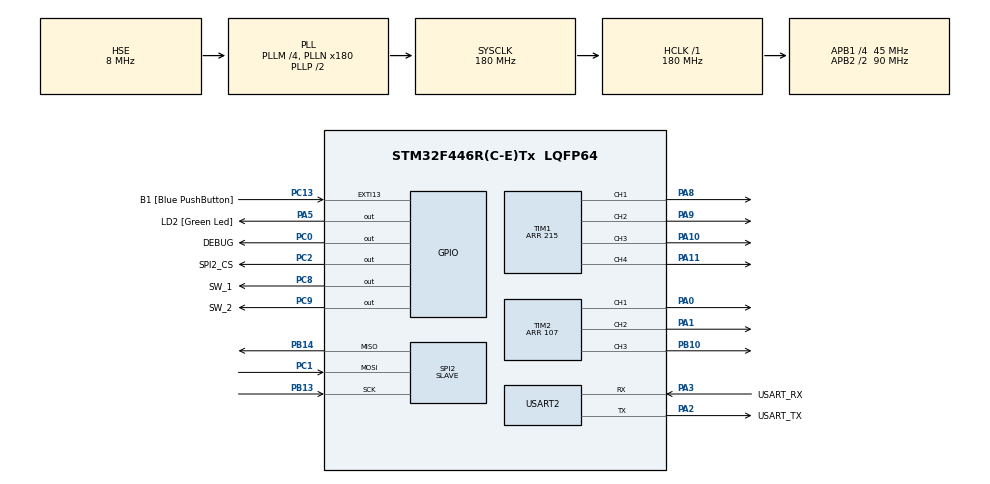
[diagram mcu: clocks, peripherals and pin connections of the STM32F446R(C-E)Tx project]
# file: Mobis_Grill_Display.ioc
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Dma.Request0=SPI2_RX
Dma.Request1=TIM1_CH1
Dma.Request2=TIM1_CH2
Dma.Request3=TIM1_CH3
Dma.Request4=TIM1_CH4/TRIG/COM
Dma.Request5=TIM2_CH1
Dma.Request6=TIM2_CH2/CH4
Dma.Request7=TIM2_UP/CH3
Dma.SPI2_RX.0.Direction=DMA_PERIPH_TO_MEMORY
Dma.SPI2_RX.0.FIFOMode=DMA_FIFOMODE_DISABLE
Dma.SPI2_RX.0.Instance=DMA1_Stream3
Dma.SPI2_RX.0.MemDataAlignment=DMA_MDATAALIGN_HALFWORD
Dma.SPI2_RX.0.MemInc=DMA_MINC_ENABLE
Dma.SPI2_RX.0.Mode=DMA_NORMAL
Dma.SPI2_RX.0.PeriphDataAlignment=DMA_PDATAALIGN_HALFWORD
Dma.SPI2_RX.0.PeriphInc=DMA_PINC_DISABLE
Dma.SPI2_RX.0.Priority=DMA_PRIORITY_LOW
Dma.TIM1_CH1.1.Direction=DMA_MEMORY_TO_PERIPH
Dma.TIM1_CH1.1.FIFOMode=DMA_FIFOMODE_DISABLE
Dma.TIM1_CH1.1.Instance=DMA2_Stream1
Dma.TIM1_CH1.1.MemDataAlignment=DMA_MDATAALIGN_HALFWORD
Dma.TIM1_CH1.1.MemInc=DMA_MINC_ENABLE
Dma.TIM1_CH1.1.Mode=DMA_NORMAL
Dma.TIM1_CH1.1.PeriphDataAlignment=DMA_PDATAALIGN_HALFWORD
Dma.TIM1_CH1.1.PeriphInc=DMA_PINC_DISABLE
Dma.TIM1_CH1.1.Priority=DMA_PRIORITY_LOW
Dma.TIM1_CH2.2.Direction=DMA_MEMORY_TO_PERIPH
Dma.TIM1_CH2.2.FIFOMode=DMA_FIFOMODE_DISABLE
Dma.TIM1_CH2.2.Instance=DMA2_Stream2
Dma.TIM1_CH2.2.MemDataAlignment=DMA_MDATAALIGN_HALFWORD
Dma.TIM1_CH2.2.MemInc=DMA_MINC_ENABLE
Dma.TIM1_CH2.2.Mode=DMA_NORMAL
Dma.TIM1_CH2.2.PeriphDataAlignment=DMA_PDATAALIGN_HALFWORD
Dma.TIM1_CH2.2.PeriphInc=DMA_PINC_DISABLE
Dma.TIM1_CH2.2.Priority=DMA_PRIORITY_LOW
Dma.TIM1_CH3.3.Direction=DMA_MEMORY_TO_PERIPH
Dma.TIM1_CH3.3.FIFOMode=DMA_FIFOMODE_DISABLE
Dma.TIM1_CH3.3.Instance=DMA2_Stream6
Dma.TIM1_CH3.3.MemDataAlignment=DMA_MDATAALIGN_HALFWORD
Dma.TIM1_CH3.3.MemInc=DMA_MINC_ENABLE
Dma.TIM1_CH3.3.Mode=DMA_NORMAL
Dma.TIM1_CH3.3.PeriphDataAlignment=DMA_PDATAALIGN_HALFWORD
Dma.TIM1_CH3.3.PeriphInc=DMA_PINC_DISABLE
Dma.TIM1_CH3.3.Priority=DMA_PRIORITY_LOW
Dma.TIM1_CH4/TRIG/COM.4.Direction=DMA_MEMORY_TO_PERIPH
Dma.TIM1_CH4/TRIG/COM.4.FIFOMode=DMA_FIFOMODE_DISABLE
Dma.TIM1_CH4/TRIG/COM.4.Instance=DMA2_Stream4
Dma.TIM1_CH4/TRIG/COM.4.MemDataAlignment=DMA_MDATAALIGN_HALFWORD
Dma.TIM1_CH4/TRIG/COM.4.MemInc=DMA_MINC_ENABLE
Dma.TIM1_CH4/TRIG/COM.4.Mode=DMA_NORMAL
Dma.TIM1_CH4/TRIG/COM.4.PeriphDataAlignment=DMA_PDATAALIGN_HALFWORD
Dma.TIM1_CH4/TRIG/COM.4.PeriphInc=DMA_PINC_DISABLE
Dma.TIM1_CH4/TRIG/COM.4.Priority=DMA_PRIORITY_LOW
Dma.TIM2_CH1.5.Direction=DMA_MEMORY_TO_PERIPH
Dma.TIM2_CH1.5.FIFOMode=DMA_FIFOMODE_DISABLE
Dma.TIM2_CH1.5.Instance=DMA1_Stream5
Dma.TIM2_CH1.5.MemDataAlignment=DMA_MDATAALIGN_WORD
Dma.TIM2_CH1.5.MemInc=DMA_MINC_ENABLE
Dma.TIM2_CH1.5.Mode=DMA_NORMAL
Dma.TIM2_CH1.5.PeriphDataAlignment=DMA_PDATAALIGN_WORD
Dma.TIM2_CH1.5.PeriphInc=DMA_PINC_DISABLE
Dma.TIM2_CH1.5.Priority=DMA_PRIORITY_LOW
Dma.TIM2_CH2/CH4.6.Direction=DMA_MEMORY_TO_PERIPH
Dma.TIM2_CH2/CH4.6.FIFOMode=DMA_FIFOMODE_DISABLE
Dma.TIM2_CH2/CH4.6.Instance=DMA1_Stream6
Dma.TIM2_CH2/CH4.6.MemDataAlignment=DMA_MDATAALIGN_WORD
Dma.TIM2_CH2/CH4.6.MemInc=DMA_MINC_ENABLE
Dma.TIM2_CH2/CH4.6.Mode=DMA_NORMAL
Dma.TIM2_CH2/CH4.6.PeriphDataAlignment=DMA_PDATAALIGN_WORD
Dma.TIM2_CH2/CH4.6.PeriphInc=DMA_PINC_DISABLE
Dma.TIM2_CH2/CH4.6.Priority=DMA_PRIORITY_LOW
Dma.TIM2_UP/CH3.7.Direction=DMA_MEMORY_TO_PERIPH
Dma.TIM2_UP/CH3.7.FIFOMode=DMA_FIFOMODE_DISABLE
Dma.TIM2_UP/CH3.7.Instance=DMA1_Stream1
Dma.TIM2_UP/CH3.7.MemDataAlignment=DMA_MDATAALIGN_WORD
Dma.TIM2_UP/CH3.7.MemInc=DMA_MINC_ENABLE
Dma.TIM2_UP/CH3.7.Mode=DMA_NORMAL
Dma.TIM2_UP/CH3.7.PeriphDataAlignment=DMA_PDATAALIGN_WORD
Dma.TIM2_UP/CH3.7.PeriphInc=DMA_PINC_DISABLE
Dma.TIM2_UP/CH3.7.Priority=DMA_PRIORITY_LOW
Mcu.Family=STM32F4
Mcu.Name=STM32F446R(C-E)Tx
Mcu.Package=LQFP64
NVIC.DMA1_Stream1_IRQn=true\:0\:0\:false\:false\:true\:false\:true\:true
NVIC.DMA1_Stream3_IRQn=true\:0\:0\:false\:false\:true\:false\:true\:true
NVIC.DMA1_Stream5_IRQn=true\:0\:0\:false\:false\:true\:false\:true\:true
NVIC.DMA1_Stream6_IRQn=true\:0\:0\:false\:false\:true\:false\:true\:true
NVIC.DMA2_Stream1_IRQn=true\:0\:0\:false\:false\:true\:false\:true\:true
NVIC.DMA2_Stream2_IRQn=true\:0\:0\:false\:false\:true\:false\:true\:true
NVIC.DMA2_Stream4_IRQn=true\:0\:0\:false\:false\:true\:false\:true\:true
NVIC.DMA2_Stream6_IRQn=true\:0\:0\:false\:false\:true\:false\:true\:true
NVIC.PriorityGroup=NVIC_PRIORITYGROUP_0
NVIC.TIM8_TRG_COM_TIM14_IRQn=true\:0\:0\:false\:false\:true\:true\:true\:true
PA0-WKUP.GPIO_Speed=GPIO_SPEED_FREQ_VERY_HIGH
PA0-WKUP.Signal=S_TIM2_CH1_ETR
PA1.GPIO_Speed=GPIO_SPEED_FREQ_VERY_HIGH
PA1.Signal=S_TIM2_CH2
PA10.GPIO_Speed=GPIO_SPEED_FREQ_VERY_HIGH
PA10.Signal=S_TIM1_CH3
PA11.GPIO_Speed=GPIO_SPEED_FREQ_VERY_HIGH
PA11.Signal=S_TIM1_CH4
PA13.GPIO_Label=TMS
PA13.Mode=Serial_Wire
PA13.Signal=SYS_JTMS-SWDIO
PA14.GPIO_Label=TCK
PA14.Mode=Serial_Wire
PA14.Signal=SYS_JTCK-SWCLK
PA2.GPIO_Label=USART_TX
PA2.Mode=Asynchronous
PA2.Signal=USART2_TX
PA3.GPIO_Label=USART_RX
PA3.Mode=Asynchronous
PA3.Signal=USART2_RX
PA5.GPIO_Label=LD2 [Green Led]
PA5.Signal=GPIO_Output
PA8.GPIO_Speed=GPIO_SPEED_FREQ_VERY_HIGH
PA8.Signal=S_TIM1_CH1
PA9.GPIO_Speed=GPIO_SPEED_FREQ_VERY_HIGH
PA9.Signal=S_TIM1_CH2
PB10.GPIO_Speed=GPIO_SPEED_FREQ_VERY_HIGH
PB10.Signal=S_TIM2_CH3
PB13.Mode=Full_Duplex_Slave
PB13.Signal=SPI2_SCK
PB14.Mode=Full_Duplex_Slave
PB14.Signal=SPI2_MISO
PB3.GPIO_Label=SWO
PB3.Signal=SYS_JTDO-SWO
PC0.GPIO_Label=DEBUG
PC0.Signal=GPIO_Output
PC1.Mode=Full_Duplex_Slave
PC1.Signal=SPI2_MOSI
PC13.GPIO_Label=B1 [Blue PushButton]
PC13.GPIO_ModeDefaultEXTI=GPIO_MODE_IT_FALLING
PC13.Signal=GPXTI13
PC14-OSC32_IN.Mode=LSE-External-Oscillator
PC14-OSC32_IN.Signal=RCC_OSC32_IN
PC15-OSC32_OUT.Mode=LSE-External-Oscillator
PC15-OSC32_OUT.Signal=RCC_OSC32_OUT
PC2.GPIO_Label=SPI2_CS
PC2.Signal=GPIO_Output
PC8.GPIO_Label=SW_1
PC8.Signal=GPIO_Output
PC9.GPIO_Label=SW_2
PC9.Signal=GPIO_Output
PH0-OSC_IN.Mode=HSE-External-Oscillator
PH0-OSC_IN.Signal=RCC_OSC_IN
PH1-OSC_OUT.Mode=HSE-External-Oscillator
PH1-OSC_OUT.Signal=RCC_OSC_OUT
ProjectManager.HeapSize=0x200
ProjectManager.StackSize=0x400
ProjectManager.TargetToolchain=EWARM V8.50
RCC.48MHZClocksFreq_Value=84000000
RCC.AHBFreq_Value=180000000
RCC.APB1CLKDivider=RCC_HCLK_DIV4
RCC.APB1Freq_Value=45000000
RCC.APB1TimFreq_Value=90000000
RCC.APB2CLKDivider=RCC_HCLK_DIV2
RCC.APB2Freq_Value=90000000
RCC.APB2TimFreq_Value=180000000
RCC.CortexFreq_Value=180000000
RCC.FLatency-AdvancedSettings=FLASH_LATENCY_5
RCC.HCLKFreq_Value=180000000
RCC.HSE_VALUE=8000000
RCC.HSI_VALUE=16000000
RCC.PLLM=4
RCC.PLLN=180
RCC.PLLSourceVirtual=RCC_PLLSOURCE_HSE
RCC.SYSCLKFreq_VALUE=180000000
RCC.SYSCLKSource=RCC_SYSCLKSOURCE_PLLCLK
RCC.USBFreq_Value=180000000
RCC.VCOOutputFreq_Value=360000000
SH.S_TIM1_CH1.0=TIM1_CH1,PWM Generation1 CH1
SH.S_TIM1_CH2.0=TIM1_CH2,PWM Generation2 CH2
SH.S_TIM1_CH3.0=TIM1_CH3,PWM Generation3 CH3
SH.S_TIM1_CH4.0=TIM1_CH4,PWM Generation4 CH4
SH.S_TIM2_CH1_ETR.0=TIM2_CH1,PWM Generation1 CH1
SH.S_TIM2_CH2.0=TIM2_CH2,PWM Generation2 CH2
SH.S_TIM2_CH3.0=TIM2_CH3,PWM Generation3 CH3
SPI2.Direction=SPI_DIRECTION_2LINES
SPI2.Mode=SPI_MODE_SLAVE
SPI2.VirtualType=VM_SLAVE
TIM1.Channel-PWM\ Generation1\ CH1=TIM_CHANNEL_1
TIM1.Channel-PWM\ Generation2\ CH2=TIM_CHANNEL_2
TIM1.Channel-PWM\ Generation3\ CH3=TIM_CHANNEL_3
TIM1.Channel-PWM\ Generation4\ CH4=TIM_CHANNEL_4
TIM1.Period=215
TIM13.Prescaler=89
TIM14.Period=49999
TIM14.Prescaler=29
TIM2.Channel-PWM\ Generation1\ CH1=TIM_CHANNEL_1
TIM2.Channel-PWM\ Generation2\ CH2=TIM_CHANNEL_2
TIM2.Channel-PWM\ Generation3\ CH3=TIM_CHANNEL_3
TIM2.Period=107
USART2.VirtualMode=VM_ASYNC
VP_TIM13_VS_ClockSourceINT.Mode=Enable_Timer
VP_TIM14_VS_ClockSourceINT.Mode=Enable_Timer
VP_TIM1_VS_ClockSourceINT.Mode=Internal
VP_TIM2_VS_ClockSourceINT.Mode=Internal
board=NUCLEO-F446RE

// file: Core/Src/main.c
/* USER CODE BEGIN Header */
/* USER CODE END Header */
#include "main.h"

/* USER CODE BEGIN Includes */
#include <stdint.h>
/* USER CODE END Includes */

/* USER CODE BEGIN PD */
#define TIM1_PERIOD     216
#define TIM1_CCR_BIT_1  ((TIM1_PERIOD * 2 / 3.0f) - 1)
#define TIM1_CCR_BIT_0  ((TIM1_PERIOD * 1 / 3.0f) - 1)

#define TIM2_PERIOD     108
#define TIM2_CCR_BIT_1  ((TIM2_PERIOD * 2 / 3.0f) - 1)
#define TIM2_CCR_BIT_0  ((TIM2_PERIOD * 1 / 3.0f) - 1)

#define DATA_VALID      (3072)
#define DATA_DUMMY      (10)
#define DATA_SIZE       (DATA_VALID + DATA_DUMMY * 2)
/* USER CODE END PD */

TIM_HandleTypeDef htim13;

UART_HandleTypeDef huart2;

void SystemClock_Config(void);
static void MX_GPIO_Init(void);
static void MX_DMA_Init(void);
static void MX_USART2_UART_Init(void);
static void MX_SPI2_Init(void);
static void MX_TIM1_Init(void);
static void MX_TIM2_Init(void);
static void MX_TIM14_Init(void);
static void MX_TIM13_Init(void);

/* USER CODE BEGIN 0 */

volatile uint8_t gn_vsync_flag;
volatile uint8_t gn_tim1_ch1_dma_flag;
volatile uint8_t gn_tim1_ch2_dma_flag;
volatile uint8_t gn_tim1_ch3_dma_flag;
volatile uint8_t gn_tim1_ch4_dma_flag;
volatile uint8_t gn_tim2_ch1_dma_flag;
volatile uint8_t gn_tim2_ch2_dma_flag;
volatile uint8_t gn_tim2_ch3_dma_flag;

//TIM1 : 16bit, half-word
uint16_t data_tim1_ch1[DATA_SIZE] = {0, };
uint16_t data_tim1_ch2[DATA_SIZE] = {0, };
uint16_t data_tim1_ch3[DATA_SIZE] = {0, };
uint16_t data_tim1_ch4[DATA_SIZE] = {0, };

//TIM2 : 32bit, word
uint32_t data_tim2_ch1[DATA_SIZE] = {0, };
uint32_t data_tim2_ch2[DATA_SIZE] = {0, };
uint32_t data_tim2_ch3[DATA_SIZE] = {0, };

static void update_dimming_buffer(uint8_t in)
{
    if (in % 2)
    {
        for (uint16_t i = 0; i < DATA_VALID; i++)
        {
            data_tim1_ch1[i + DATA_DUMMY] = TIM1_CCR_BIT_1;
            data_tim1_ch2[i + DATA_DUMMY] = TIM1_CCR_BIT_1;
            data_tim1_ch3[i + DATA_DUMMY] = TIM1_CCR_BIT_1;
            data_tim1_ch4[i + DATA_DUMMY] = TIM1_CCR_BIT_1;
            data_tim2_ch1[i + DATA_DUMMY] = TIM2_CCR_BIT_1;
            data_tim2_ch2[i + DATA_DUMMY] = TIM2_CCR_BIT_1;
            data_tim2_ch3[i + DATA_DUMMY] = TIM2_CCR_BIT_1;
        }
    }
    else
    {
        for (uint16_t i = 0; i < DATA_VALID; i++)
        {
            data_tim1_ch1[i + DATA_DUMMY] = TIM1_CCR_BIT_0;
            data_tim1_ch2[i + DATA_DUMMY] = TIM1_CCR_BIT_0;
            data_tim1_ch3[i + DATA_DUMMY] = TIM1_CCR_BIT_0;
            data_tim1_ch4[i + DATA_DUMMY] = TIM1_CCR_BIT_0;
            data_tim2_ch1[i + DATA_DUMMY] = TIM2_CCR_BIT_0;
            data_tim2_ch2[i + DATA_DUMMY] = TIM2_CCR_BIT_0;
            data_tim2_ch3[i + DATA_DUMMY] = TIM2_CCR_BIT_0;
        }
    }
}

static void start_dma_tx(void)
{
    LL_TIM_DisableCounter(TIM1);
    LL_TIM_SetCounter(TIM1, 0);
    LL_DMA_SetDataLength(DMA2, LL_DMA_STREAM_1, DATA_SIZE);
    LL_DMA_EnableIT_TC(DMA2, LL_DMA_STREAM_1);
    LL_DMA_EnableStream(DMA2, LL_DMA_STREAM_1);

    LL_DMA_SetDataLength(DMA2, LL_DMA_STREAM_2, DATA_SIZE);
    LL_DMA_EnableIT_TC(DMA2, LL_DMA_STREAM_2);
    LL_DMA_EnableStream(DMA2, LL_DMA_STREAM_2);

    LL_DMA_SetDataLength(DMA2, LL_DMA_STREAM_6, DATA_SIZE);
    LL_DMA_EnableIT_TC(DMA2, LL_DMA_STREAM_6);
    LL_DMA_EnableStream(DMA2, LL_DMA_STREAM_6);

    LL_DMA_SetDataLength(DMA2, LL_DMA_STREAM_4, DATA_SIZE);
    LL_DMA_EnableIT_TC(DMA2, LL_DMA_STREAM_4);
    LL_DMA_EnableStream(DMA2, LL_DMA_STREAM_4);
    LL_TIM_EnableCounter(TIM1);

    LL_TIM_DisableCounter(TIM2);
    LL_TIM_SetCounter(TIM2, 0);
    LL_DMA_SetDataLength(DMA1, LL_DMA_STREAM_5, DATA_SIZE);
    LL_DMA_EnableIT_TC(DMA1, LL_DMA_STREAM_5);
    LL_DMA_EnableStream(DMA1, LL_DMA_STREAM_5);

    LL_DMA_SetDataLength(DMA1, LL_DMA_STREAM_6, DATA_SIZE);
    LL_DMA_EnableIT_TC(DMA1, LL_DMA_STREAM_6);
    LL_DMA_EnableStream(DMA1, LL_DMA_STREAM_6);

    LL_DMA_SetDataLength(DMA1, LL_DMA_STREAM_1, DATA_SIZE);
    LL_DMA_EnableIT_TC(DMA1, LL_DMA_STREAM_1);
    LL_DMA_EnableStream(DMA1, LL_DMA_STREAM_1);
    LL_TIM_EnableCounter(TIM2);
}

static void wait_until_dma_done(void)
{
    while(1)
    {
        if (gn_tim1_ch1_dma_flag && gn_tim1_ch2_dma_flag && gn_tim1_ch3_dma_flag && gn_tim1_ch4_dma_flag && gn_tim2_ch1_dma_flag && gn_tim2_ch2_dma_flag && gn_tim2_ch3_dma_flag)
        {
            gn_tim1_ch1_dma_flag = 0;
            gn_tim1_ch2_dma_flag = 0;
            gn_tim1_ch3_dma_flag = 0;
            gn_tim1_ch4_dma_flag = 0;
            gn_tim2_ch1_dma_flag = 0;
            gn_tim2_ch2_dma_flag = 0;
            gn_tim2_ch3_dma_flag = 0;
            break;
        }
    }
}

void us_delay(uint16_t delay)
{
    LL_TIM_SetCounter(TIM13, 0);
    LL_TIM_EnableCounter(TIM13);
    while (LL_TIM_GetCounter(TIM13) < delay)
    {

    }
    LL_TIM_DisableCounter(TIM13);
}

/* USER CODE END 0 */

int main(void)
{

  /* MCU Configuration--------------------------------------------------------*/

  /* Reset of all peripherals, Initializes the Flash interface and the Systick. */
  HAL_Init();

  /* Configure the system clock */
  SystemClock_Config();

  /* Initialize all configured peripherals */
  MX_GPIO_Init();
  MX_DMA_Init();
  MX_USART2_UART_Init();
  MX_SPI2_Init();
  MX_TIM1_Init();
  MX_TIM2_Init();
  MX_TIM14_Init();
  MX_TIM13_Init();
  /* USER CODE BEGIN 2 */
    LL_TIM_EnableAllOutputs(TIM1);
    HAL_UART_Transmit(&huart2, (uint8_t*)"System Initialized\r\n", 20, HAL_MAX_DELAY);

    for (uint16_t i = 0; i < DATA_VALID; i++)
    {
        data_tim1_ch1[i + DATA_DUMMY] = TIM1_CCR_BIT_1;
        data_tim1_ch2[i + DATA_DUMMY] = TIM1_CCR_BIT_1;
        data_tim1_ch3[i + DATA_DUMMY] = TIM1_CCR_BIT_1;
        data_tim1_ch4[i + DATA_DUMMY] = TIM1_CCR_BIT_1;
        data_tim2_ch1[i + DATA_DUMMY] = TIM2_CCR_BIT_1;
        data_tim2_ch2[i + DATA_DUMMY] = TIM2_CCR_BIT_1;
        data_tim2_ch3[i + DATA_DUMMY] = TIM2_CCR_BIT_1;
    }

    LL_TIM_EnableCounter(TIM14);

  /* USER CODE END 2 */

  /* Infinite loop */
  /* USER CODE BEGIN WHILE */
    while(1)
    {
        if (gn_vsync_flag)
        {
            for (uint8_t i = 0 ; i < 4 ; ++i)
            {
                update_dimming_buffer(i);
                start_dma_tx();
                wait_until_dma_done();
            }
            HAL_GPIO_WritePin(DEBUG_GPIO_Port, DEBUG_Pin, GPIO_PIN_RESET);
            gn_vsync_flag = 0;
        }
    }

    /* USER CODE END WHILE */

}

void SystemClock_Config(void)
{
  RCC_OscInitTypeDef RCC_OscInitStruct = {0};
  RCC_ClkInitTypeDef RCC_ClkInitStruct = {0};

  /** Configure the main internal regulator output voltage
  */
  __HAL_RCC_PWR_CLK_ENABLE();
  __HAL_PWR_VOLTAGESCALING_CONFIG(PWR_REGULATOR_VOLTAGE_SCALE1);

  /** Initializes the RCC Oscillators according to the specified parameters
  * in the RCC_OscInitTypeDef structure.
  */
  RCC_OscInitStruct.OscillatorType = RCC_OSCILLATORTYPE_HSE;
  RCC_OscInitStruct.HSEState = RCC_HSE_ON;
  RCC_OscInitStruct.PLL.PLLState = RCC_PLL_ON;
  RCC_OscInitStruct.PLL.PLLSource = RCC_PLLSOURCE_HSE;
  RCC_OscInitStruct.PLL.PLLM = 4;
  RCC_OscInitStruct.PLL.PLLN = 180;
  RCC_OscInitStruct.PLL.PLLP = RCC_PLLP_DIV2;
  RCC_OscInitStruct.PLL.PLLQ = 2;
  RCC_OscInitStruct.PLL.PLLR = 2;
  if (HAL_RCC_OscConfig(&RCC_OscInitStruct) != HAL_OK)
  {
    Error_Handler();
  }

  /** Activate the Over-Drive mode
  */
  if (HAL_PWREx_EnableOverDrive() != HAL_OK)
  {
    Error_Handler();
  }

  /** Initializes the CPU, AHB and APB buses clocks
  */
  RCC_ClkInitStruct.ClockType = RCC_CLOCKTYPE_HCLK|RCC_CLOCKTYPE_SYSCLK
                              |RCC_CLOCKTYPE_PCLK1|RCC_CLOCKTYPE_PCLK2;
  RCC_ClkInitStruct.SYSCLKSource = RCC_SYSCLKSOURCE_PLLCLK;
  RCC_ClkInitStruct.AHBCLKDivider = RCC_SYSCLK_DIV1;
  RCC_ClkInitStruct.APB1CLKDivider = RCC_HCLK_DIV4;
  RCC_ClkInitStruct.APB2CLKDivider = RCC_HCLK_DIV2;

  if (HAL_RCC_ClockConfig(&RCC_ClkInitStruct, FLASH_LATENCY_5) != HAL_OK)
  {
    Error_Handler();
  }
}

static void MX_SPI2_Init(void)
{

  LL_SPI_InitTypeDef SPI_InitStruct = {0};

  LL_GPIO_InitTypeDef GPIO_InitStruct = {0};

  /* Peripheral clock enable */
  LL_APB1_GRP1_EnableClock(LL_APB1_GRP1_PERIPH_SPI2);

  LL_AHB1_GRP1_EnableClock(LL_AHB1_GRP1_PERIPH_GPIOC);
  LL_AHB1_GRP1_EnableClock(LL_AHB1_GRP1_PERIPH_GPIOB);
  /**SPI2 GPIO Configuration
  PC1   ------> SPI2_MOSI
  PB13   ------> SPI2_SCK
  */
  GPIO_InitStruct.Pin = LL_GPIO_PIN_1;
  GPIO_InitStruct.Mode = LL_GPIO_MODE_ALTERNATE;
  GPIO_InitStruct.Speed = LL_GPIO_SPEED_FREQ_VERY_HIGH;
  GPIO_InitStruct.OutputType = LL_GPIO_OUTPUT_PUSHPULL;
  GPIO_InitStruct.Pull = LL_GPIO_PULL_NO;
  GPIO_InitStruct.Alternate = LL_GPIO_AF_7;
  LL_GPIO_Init(GPIOC, &GPIO_InitStruct);

  GPIO_InitStruct.Pin = LL_GPIO_PIN_13;
  GPIO_InitStruct.Mode = LL_GPIO_MODE_ALTERNATE;
  GPIO_InitStruct.Speed = LL_GPIO_SPEED_FREQ_VERY_HIGH;
  GPIO_InitStruct.OutputType = LL_GPIO_OUTPUT_PUSHPULL;
  GPIO_InitStruct.Pull = LL_GPIO_PULL_NO;
  GPIO_InitStruct.Alternate = LL_GPIO_AF_5;
  LL_GPIO_Init(GPIOB, &GPIO_InitStruct);

  /* SPI2 DMA Init */

  /* SPI2_RX Init */
  LL_DMA_SetChannelSelection(DMA1, LL_DMA_STREAM_3, LL_DMA_CHANNEL_0);

  LL_DMA_SetDataTransferDirection(DMA1, LL_DMA_STREAM_3, LL_DMA_DIRECTION_PERIPH_TO_MEMORY);

  LL_DMA_SetStreamPriorityLevel(DMA1, LL_DMA_STREAM_3, LL_DMA_PRIORITY_LOW);

  LL_DMA_SetMode(DMA1, LL_DMA_STREAM_3, LL_DMA_MODE_NORMAL);

  LL_DMA_SetPeriphIncMode(DMA1, LL_DMA_STREAM_3, LL_DMA_PERIPH_NOINCREMENT);

  LL_DMA_SetMemoryIncMode(DMA1, LL_DMA_STREAM_3, LL_DMA_MEMORY_INCREMENT);

  LL_DMA_SetPeriphSize(DMA1, LL_DMA_STREAM_3, LL_DMA_PDATAALIGN_HALFWORD);

  LL_DMA_SetMemorySize(DMA1, LL_DMA_STREAM_3, LL_DMA_MDATAALIGN_HALFWORD);

  LL_DMA_DisableFifoMode(DMA1, LL_DMA_STREAM_3);

  /* SPI2 parameter configuration*/
  SPI_InitStruct.TransferDirection = LL_SPI_SIMPLEX_RX;
  SPI_InitStruct.Mode = LL_SPI_MODE_SLAVE;
  SPI_InitStruct.DataWidth = LL_SPI_DATAWIDTH_8BIT;
  SPI_InitStruct.ClockPolarity = LL_SPI_POLARITY_LOW;
  SPI_InitStruct.ClockPhase = LL_SPI_PHASE_1EDGE;
  SPI_InitStruct.NSS = LL_SPI_NSS_SOFT;
  SPI_InitStruct.BitOrder = LL_SPI_MSB_FIRST;
  SPI_InitStruct.CRCCalculation = LL_SPI_CRCCALCULATION_DISABLE;
  SPI_InitStruct.CRCPoly = 10;
  LL_SPI_Init(SPI2, &SPI_InitStruct);
  LL_SPI_SetStandard(SPI2, LL_SPI_PROTOCOL_MOTOROLA);

}

static void MX_TIM1_Init(void)
{

  LL_TIM_InitTypeDef TIM_InitStruct = {0};
  LL_TIM_OC_InitTypeDef TIM_OC_InitStruct = {0};
  LL_TIM_BDTR_InitTypeDef TIM_BDTRInitStruct = {0};

  LL_GPIO_InitTypeDef GPIO_InitStruct = {0};

  /* Peripheral clock enable */
  LL_APB2_GRP1_EnableClock(LL_APB2_GRP1_PERIPH_TIM1);

  /* TIM1 DMA Init */

  /* TIM1_CH1 Init */
  LL_DMA_SetChannelSelection(DMA2, LL_DMA_STREAM_1, LL_DMA_CHANNEL_6);

  LL_DMA_SetDataTransferDirection(DMA2, LL_DMA_STREAM_1, LL_DMA_DIRECTION_MEMORY_TO_PERIPH);

  LL_DMA_SetStreamPriorityLevel(DMA2, LL_DMA_STREAM_1, LL_DMA_PRIORITY_LOW);

  LL_DMA_SetMode(DMA2, LL_DMA_STREAM_1, LL_DMA_MODE_NORMAL);

  LL_DMA_SetPeriphIncMode(DMA2, LL_DMA_STREAM_1, LL_DMA_PERIPH_NOINCREMENT);

  LL_DMA_SetMemoryIncMode(DMA2, LL_DMA_STREAM_1, LL_DMA_MEMORY_INCREMENT);

  LL_DMA_SetPeriphSize(DMA2, LL_DMA_STREAM_1, LL_DMA_PDATAALIGN_HALFWORD);

  LL_DMA_SetMemorySize(DMA2, LL_DMA_STREAM_1, LL_DMA_MDATAALIGN_HALFWORD);

  LL_DMA_DisableFifoMode(DMA2, LL_DMA_STREAM_1);

  /* TIM1_CH2 Init */
  LL_DMA_SetChannelSelection(DMA2, LL_DMA_STREAM_2, LL_DMA_CHANNEL_6);

  LL_DMA_SetDataTransferDirection(DMA2, LL_DMA_STREAM_2, LL_DMA_DIRECTION_MEMORY_TO_PERIPH);

  LL_DMA_SetStreamPriorityLevel(DMA2, LL_DMA_STREAM_2, LL_DMA_PRIORITY_LOW);

  LL_DMA_SetMode(DMA2, LL_DMA_STREAM_2, LL_DMA_MODE_NORMAL);

  LL_DMA_SetPeriphIncMode(DMA2, LL_DMA_STREAM_2, LL_DMA_PERIPH_NOINCREMENT);

  LL_DMA_SetMemoryIncMode(DMA2, LL_DMA_STREAM_2, LL_DMA_MEMORY_INCREMENT);

  LL_DMA_SetPeriphSize(DMA2, LL_DMA_STREAM_2, LL_DMA_PDATAALIGN_HALFWORD);

  LL_DMA_SetMemorySize(DMA2, LL_DMA_STREAM_2, LL_DMA_MDATAALIGN_HALFWORD);

  LL_DMA_DisableFifoMode(DMA2, LL_DMA_STREAM_2);

  /* TIM1_CH3 Init */
  LL_DMA_SetChannelSelection(DMA2, LL_DMA_STREAM_6, LL_DMA_CHANNEL_6);

  LL_DMA_SetDataTransferDirection(DMA2, LL_DMA_STREAM_6, LL_DMA_DIRECTION_MEMORY_TO_PERIPH);

  LL_DMA_SetStreamPriorityLevel(DMA2, LL_DMA_STREAM_6, LL_DMA_PRIORITY_LOW);

  LL_DMA_SetMode(DMA2, LL_DMA_STREAM_6, LL_DMA_MODE_NORMAL);

  LL_DMA_SetPeriphIncMode(DMA2, LL_DMA_STREAM_6, LL_DMA_PERIPH_NOINCREMENT);

  LL_DMA_SetMemoryIncMode(DMA2, LL_DMA_STREAM_6, LL_DMA_MEMORY_INCREMENT);

  LL_DMA_SetPeriphSize(DMA2, LL_DMA_STREAM_6, LL_DMA_PDATAALIGN_HALFWORD);

  LL_DMA_SetMemorySize(DMA2, LL_DMA_STREAM_6, LL_DMA_MDATAALIGN_HALFWORD);

  LL_DMA_DisableFifoMode(DMA2, LL_DMA_STREAM_6);

  /* TIM1_CH4_TRIG_COM Init */
  LL_DMA_SetChannelSelection(DMA2, LL_DMA_STREAM_4, LL_DMA_CHANNEL_6);

  LL_DMA_SetDataTransferDirection(DMA2, LL_DMA_STREAM_4, LL_DMA_DIRECTION_MEMORY_TO_PERIPH);

  LL_DMA_SetStreamPriorityLevel(DMA2, LL_DMA_STREAM_4, LL_DMA_PRIORITY_LOW);

  LL_DMA_SetMode(DMA2, LL_DMA_STREAM_4, LL_DMA_MODE_NORMAL);

  LL_DMA_SetPeriphIncMode(DMA2, LL_DMA_STREAM_4, LL_DMA_PERIPH_NOINCREMENT);

  LL_DMA_SetMemoryIncMode(DMA2, LL_DMA_STREAM_4, LL_DMA_MEMORY_INCREMENT);

  LL_DMA_SetPeriphSize(DMA2, LL_DMA_STREAM_4, LL_DMA_PDATAALIGN_HALFWORD);

  LL_DMA_SetMemorySize(DMA2, LL_DMA_STREAM_4, LL_DMA_MDATAALIGN_HALFWORD);

  LL_DMA_DisableFifoMode(DMA2, LL_DMA_STREAM_4);

  /* USER CODE BEGIN TIM1_Init 1 */

    LL_DMA_SetPeriphAddress(DMA2, LL_DMA_STREAM_1, (uint32_t)(&(TIM1->CCR1)));
    LL_DMA_SetMemoryAddress(DMA2, LL_DMA_STREAM_1, (uint32_t)data_tim1_ch1);
    LL_DMA_ClearFlag_TC1(DMA2);
    LL_DMA_ClearFlag_DME1(DMA2);
    LL_DMA_ClearFlag_TE1(DMA2);

    LL_DMA_SetPeriphAddress(DMA2, LL_DMA_STREAM_2, (uint32_t)(&(TIM1->CCR2)));
    LL_DMA_SetMemoryAddress(DMA2, LL_DMA_STREAM_2, (uint32_t)data_tim1_ch2);
    LL_DMA_ClearFlag_TC2(DMA2);
    LL_DMA_ClearFlag_DME2(DMA2);
    LL_DMA_ClearFlag_TE2(DMA2);

    LL_DMA_SetPeriphAddress(DMA2, LL_DMA_STREAM_6, (uint32_t)(&(TIM1->CCR3)));
    LL_DMA_SetMemoryAddress(DMA2, LL_DMA_STREAM_6, (uint32_t)data_tim1_ch3);
    LL_DMA_ClearFlag_TC6(DMA2);
    LL_DMA_ClearFlag_DME6(DMA2);
    LL_DMA_ClearFlag_TE6(DMA2);

    LL_DMA_SetPeriphAddress(DMA2, LL_DMA_STREAM_4, (uint32_t)(&(TIM1->CCR4)));
    LL_DMA_SetMemoryAddress(DMA2, LL_DMA_STREAM_4, (uint32_t)data_tim1_ch4);
    LL_DMA_ClearFlag_TC4(DMA2);
    LL_DMA_ClearFlag_DME4(DMA2);
    LL_DMA_ClearFlag_TE4(DMA2);

  /* USER CODE END TIM1_Init 1 */
  TIM_InitStruct.Prescaler = 0;
  TIM_InitStruct.CounterMode = LL_TIM_COUNTERMODE_UP;
  TIM_InitStruct.Autoreload = 215;
  TIM_InitStruct.ClockDivision = LL_TIM_CLOCKDIVISION_DIV1;
  TIM_InitStruct.RepetitionCounter = 0;
  LL_TIM_Init(TIM1, &TIM_InitStruct);
  LL_TIM_DisableARRPreload(TIM1);
  LL_TIM_SetClockSource(TIM1, LL_TIM_CLOCKSOURCE_INTERNAL);
  LL_TIM_OC_EnablePreload(TIM1, LL_TIM_CHANNEL_CH1);
  TIM_OC_InitStruct.OCMode = LL_TIM_OCMODE_PWM1;
  TIM_OC_InitStruct.OCState = LL_TIM_OCSTATE_DISABLE;
  TIM_OC_InitStruct.OCNState = LL_TIM_OCSTATE_DISABLE;
  TIM_OC_InitStruct.CompareValue = 0;
  TIM_OC_InitStruct.OCPolarity = LL_TIM_OCPOLARITY_HIGH;
  TIM_OC_InitStruct.OCNPolarity = LL_TIM_OCPOLARITY_HIGH;
  TIM_OC_InitStruct.OCIdleState = LL_TIM_OCIDLESTATE_LOW;
  TIM_OC_InitStruct.OCNIdleState = LL_TIM_OCIDLESTATE_LOW;
  LL_TIM_OC_Init(TIM1, LL_TIM_CHANNEL_CH1, &TIM_OC_InitStruct);
  LL_TIM_OC_DisableFast(TIM1, LL_TIM_CHANNEL_CH1);
  LL_TIM_OC_EnablePreload(TIM1, LL_TIM_CHANNEL_CH2);
  LL_TIM_OC_Init(TIM1, LL_TIM_CHANNEL_CH2, &TIM_OC_InitStruct);
  LL_TIM_OC_DisableFast(TIM1, LL_TIM_CHANNEL_CH2);
  LL_TIM_OC_EnablePreload(TIM1, LL_TIM_CHANNEL_CH3);
  LL_TIM_OC_Init(TIM1, LL_TIM_CHANNEL_CH3, &TIM_OC_InitStruct);
  LL_TIM_OC_DisableFast(TIM1, LL_TIM_CHANNEL_CH3);
  LL_TIM_OC_EnablePreload(TIM1, LL_TIM_CHANNEL_CH4);
  LL_TIM_OC_Init(TIM1, LL_TIM_CHANNEL_CH4, &TIM_OC_InitStruct);
  LL_TIM_OC_DisableFast(TIM1, LL_TIM_CHANNEL_CH4);
  LL_TIM_SetTriggerOutput(TIM1, LL_TIM_TRGO_RESET);
  LL_TIM_DisableMasterSlaveMode(TIM1);
  TIM_BDTRInitStruct.OSSRState = LL_TIM_OSSR_DISABLE;
  TIM_BDTRInitStruct.OSSIState = LL_TIM_OSSI_DISABLE;
  TIM_BDTRInitStruct.LockLevel = LL_TIM_LOCKLEVEL_OFF;
  TIM_BDTRInitStruct.DeadTime = 0;
  TIM_BDTRInitStruct.BreakState = LL_TIM_BREAK_DISABLE;
  TIM_BDTRInitStruct.BreakPolarity = LL_TIM_BREAK_POLARITY_HIGH;
  TIM_BDTRInitStruct.AutomaticOutput = LL_TIM_AUTOMATICOUTPUT_DISABLE;
  LL_TIM_BDTR_Init(TIM1, &TIM_BDTRInitStruct);
  /* USER CODE BEGIN TIM1_Init 2 */

    LL_TIM_CC_EnableChannel(TIM1, LL_TIM_CHANNEL_CH1);
    LL_TIM_EnableDMAReq_CC1(TIM1);

    LL_TIM_CC_EnableChannel(TIM1, LL_TIM_CHANNEL_CH2);
    LL_TIM_EnableDMAReq_CC2(TIM1);

    LL_TIM_CC_EnableChannel(TIM1, LL_TIM_CHANNEL_CH3);
    LL_TIM_EnableDMAReq_CC3(TIM1);

    LL_TIM_CC_EnableChannel(TIM1, LL_TIM_CHANNEL_CH4);
    LL_TIM_EnableDMAReq_CC4(TIM1);

  /* USER CODE END TIM1_Init 2 */
  LL_AHB1_GRP1_EnableClock(LL_AHB1_GRP1_PERIPH_GPIOA);
  /**TIM1 GPIO Configuration
  PA8   ------> TIM1_CH1
  PA9   ------> TIM1_CH2
  PA10   ------> TIM1_CH3
  PA11   ------> TIM1_CH4
  */
  GPIO_InitStruct.Pin = LL_GPIO_PIN_8|LL_GPIO_PIN_9|LL_GPIO_PIN_10|LL_GPIO_PIN_11;
  GPIO_InitStruct.Mode = LL_GPIO_MODE_ALTERNATE;
  GPIO_InitStruct.Speed = LL_GPIO_SPEED_FREQ_VERY_HIGH;
  GPIO_InitStruct.OutputType = LL_GPIO_OUTPUT_PUSHPULL;
  GPIO_InitStruct.Pull = LL_GPIO_PULL_NO;
  GPIO_InitStruct.Alternate = LL_GPIO_AF_1;
  LL_GPIO_Init(GPIOA, &GPIO_InitStruct);

}

static void MX_TIM2_Init(void)
{

  LL_TIM_InitTypeDef TIM_InitStruct = {0};
  LL_TIM_OC_InitTypeDef TIM_OC_InitStruct = {0};

  LL_GPIO_InitTypeDef GPIO_InitStruct = {0};

  /* Peripheral clock enable */
  LL_APB1_GRP1_EnableClock(LL_APB1_GRP1_PERIPH_TIM2);

  /* TIM2 DMA Init */

  /* TIM2_CH1 Init */
  LL_DMA_SetChannelSelection(DMA1, LL_DMA_STREAM_5, LL_DMA_CHANNEL_3);

  LL_DMA_SetDataTransferDirection(DMA1, LL_DMA_STREAM_5, LL_DMA_DIRECTION_MEMORY_TO_PERIPH);

  LL_DMA_SetStreamPriorityLevel(DMA1, LL_DMA_STREAM_5, LL_DMA_PRIORITY_LOW);

  LL_DMA_SetMode(DMA1, LL_DMA_STREAM_5, LL_DMA_MODE_NORMAL);

  LL_DMA_SetPeriphIncMode(DMA1, LL_DMA_STREAM_5, LL_DMA_PERIPH_NOINCREMENT);

  LL_DMA_SetMemoryIncMode(DMA1, LL_DMA_STREAM_5, LL_DMA_MEMORY_INCREMENT);

  LL_DMA_SetPeriphSize(DMA1, LL_DMA_STREAM_5, LL_DMA_PDATAALIGN_WORD);

  LL_DMA_SetMemorySize(DMA1, LL_DMA_STREAM_5, LL_DMA_MDATAALIGN_WORD);

  LL_DMA_DisableFifoMode(DMA1, LL_DMA_STREAM_5);

  /* TIM2_CH2_CH4 Init */
  LL_DMA_SetChannelSelection(DMA1, LL_DMA_STREAM_6, LL_DMA_CHANNEL_3);

  LL_DMA_SetDataTransferDirection(DMA1, LL_DMA_STREAM_6, LL_DMA_DIRECTION_MEMORY_TO_PERIPH);

  LL_DMA_SetStreamPriorityLevel(DMA1, LL_DMA_STREAM_6, LL_DMA_PRIORITY_LOW);

  LL_DMA_SetMode(DMA1, LL_DMA_STREAM_6, LL_DMA_MODE_NORMAL);

  LL_DMA_SetPeriphIncMode(DMA1, LL_DMA_STREAM_6, LL_DMA_PERIPH_NOINCREMENT);

  LL_DMA_SetMemoryIncMode(DMA1, LL_DMA_STREAM_6, LL_DMA_MEMORY_INCREMENT);

  LL_DMA_SetPeriphSize(DMA1, LL_DMA_STREAM_6, LL_DMA_PDATAALIGN_WORD);

  LL_DMA_SetMemorySize(DMA1, LL_DMA_STREAM_6, LL_DMA_MDATAALIGN_WORD);

  LL_DMA_DisableFifoMode(DMA1, LL_DMA_STREAM_6);

  /* TIM2_UP_CH3 Init */
  LL_DMA_SetChannelSelection(DMA1, LL_DMA_STREAM_1, LL_DMA_CHANNEL_3);

  LL_DMA_SetDataTransferDirection(DMA1, LL_DMA_STREAM_1, LL_DMA_DIRECTION_MEMORY_TO_PERIPH);

  LL_DMA_SetStreamPriorityLevel(DMA1, LL_DMA_STREAM_1, LL_DMA_PRIORITY_LOW);

  LL_DMA_SetMode(DMA1, LL_DMA_STREAM_1, LL_DMA_MODE_NORMAL);

  LL_DMA_SetPeriphIncMode(DMA1, LL_DMA_STREAM_1, LL_DMA_PERIPH_NOINCREMENT);

  LL_DMA_SetMemoryIncMode(DMA1, LL_DMA_STREAM_1, LL_DMA_MEMORY_INCREMENT);

  LL_DMA_SetPeriphSize(DMA1, LL_DMA_STREAM_1, LL_DMA_PDATAALIGN_WORD);

  LL_DMA_SetMemorySize(DMA1, LL_DMA_STREAM_1, LL_DMA_MDATAALIGN_WORD);

  LL_DMA_DisableFifoMode(DMA1, LL_DMA_STREAM_1);

  /* USER CODE BEGIN TIM2_Init 1 */

    LL_DMA_SetPeriphAddress(DMA1, LL_DMA_STREAM_5, (uint32_t)(&(TIM2->CCR1)));
    LL_DMA_SetMemoryAddress(DMA1, LL_DMA_STREAM_5, (uint32_t)data_tim2_ch1);
    LL_DMA_ClearFlag_TC5(DMA1);
    LL_DMA_ClearFlag_DME5(DMA1);
    LL_DMA_ClearFlag_TE5(DMA1);

    LL_DMA_SetPeriphAddress(DMA1, LL_DMA_STREAM_6, (uint32_t)(&(TIM2->CCR2)));
    LL_DMA_SetMemoryAddress(DMA1, LL_DMA_STREAM_6, (uint32_t)data_tim2_ch2);
    LL_DMA_ClearFlag_TC6(DMA1);
    LL_DMA_ClearFlag_DME6(DMA1);
    LL_DMA_ClearFlag_TE6(DMA1);

    LL_DMA_SetPeriphAddress(DMA1, LL_DMA_STREAM_1, (uint32_t)(&(TIM2->CCR3)));
    LL_DMA_SetMemoryAddress(DMA1, LL_DMA_STREAM_1, (uint32_t)data_tim2_ch3);
    LL_DMA_ClearFlag_TC1(DMA1);
    LL_DMA_ClearFlag_DME1(DMA1);
    LL_DMA_ClearFlag_TE1(DMA1);

  /* USER CODE END TIM2_Init 1 */
  TIM_InitStruct.Prescaler = 0;
  TIM_InitStruct.CounterMode = LL_TIM_COUNTERMODE_UP;
  TIM_InitStruct.Autoreload = 107;
  TIM_InitStruct.ClockDivision = LL_TIM_CLOCKDIVISION_DIV1;
  LL_TIM_Init(TIM2, &TIM_InitStruct);
  LL_TIM_DisableARRPreload(TIM2);
  LL_TIM_SetClockSource(TIM2, LL_TIM_CLOCKSOURCE_INTERNAL);
  LL_TIM_OC_EnablePreload(TIM2, LL_TIM_CHANNEL_CH1);
  TIM_OC_InitStruct.OCMode = LL_TIM_OCMODE_PWM1;
  TIM_OC_InitStruct.OCState = LL_TIM_OCSTATE_DISABLE;
  TIM_OC_InitStruct.OCNState = LL_TIM_OCSTATE_DISABLE;
  TIM_OC_InitStruct.CompareValue = 0;
  TIM_OC_InitStruct.OCPolarity = LL_TIM_OCPOLARITY_HIGH;
  LL_TIM_OC_Init(TIM2, LL_TIM_CHANNEL_CH1, &TIM_OC_InitStruct);
  LL_TIM_OC_DisableFast(TIM2, LL_TIM_CHANNEL_CH1);
  LL_TIM_OC_EnablePreload(TIM2, LL_TIM_CHANNEL_CH2);
  LL_TIM_OC_Init(TIM2, LL_TIM_CHANNEL_CH2, &TIM_OC_InitStruct);
  LL_TIM_OC_DisableFast(TIM2, LL_TIM_CHANNEL_CH2);
  LL_TIM_OC_EnablePreload(TIM2, LL_TIM_CHANNEL_CH3);
  LL_TIM_OC_Init(TIM2, LL_TIM_CHANNEL_CH3, &TIM_OC_InitStruct);
  LL_TIM_OC_DisableFast(TIM2, LL_TIM_CHANNEL_CH3);
  LL_TIM_SetTriggerOutput(TIM2, LL_TIM_TRGO_RESET);
  LL_TIM_DisableMasterSlaveMode(TIM2);
  /* USER CODE BEGIN TIM2_Init 2 */

    LL_TIM_CC_EnableChannel(TIM2, LL_TIM_CHANNEL_CH1);
    LL_TIM_EnableDMAReq_CC1(TIM2);

    LL_TIM_CC_EnableChannel(TIM2, LL_TIM_CHANNEL_CH2);
    LL_TIM_EnableDMAReq_CC2(TIM2);

    LL_TIM_CC_EnableChannel(TIM2, LL_TIM_CHANNEL_CH3);
    LL_TIM_EnableDMAReq_CC3(TIM2);

  /* USER CODE END TIM2_Init 2 */
  LL_AHB1_GRP1_EnableClock(LL_AHB1_GRP1_PERIPH_GPIOA);
  LL_AHB1_GRP1_EnableClock(LL_AHB1_GRP1_PERIPH_GPIOB);
  /**TIM2 GPIO Configuration
  PA0-WKUP   ------> TIM2_CH1
  PA1   ------> TIM2_CH2
  PB10   ------> TIM2_CH3
  */
  GPIO_InitStruct.Pin = LL_GPIO_PIN_0|LL_GPIO_PIN_1;
  GPIO_InitStruct.Mode = LL_GPIO_MODE_ALTERNATE;
  GPIO_InitStruct.Speed = LL_GPIO_SPEED_FREQ_VERY_HIGH;
  GPIO_InitStruct.OutputType = LL_GPIO_OUTPUT_PUSHPULL;
  GPIO_InitStruct.Pull = LL_GPIO_PULL_NO;
  GPIO_InitStruct.Alternate = LL_GPIO_AF_1;
  LL_GPIO_Init(GPIOA, &GPIO_InitStruct);

  GPIO_InitStruct.Pin = LL_GPIO_PIN_10;
  GPIO_InitStruct.Mode = LL_GPIO_MODE_ALTERNATE;
  GPIO_InitStruct.Speed = LL_GPIO_SPEED_FREQ_VERY_HIGH;
  GPIO_InitStruct.OutputType = LL_GPIO_OUTPUT_PUSHPULL;
  GPIO_InitStruct.Pull = LL_GPIO_PULL_NO;
  GPIO_InitStruct.Alternate = LL_GPIO_AF_1;
  LL_GPIO_Init(GPIOB, &GPIO_InitStruct);

}

static void MX_TIM13_Init(void)
{

  htim13.Instance = TIM13;
  htim13.Init.Prescaler = 89;
  htim13.Init.CounterMode = TIM_COUNTERMODE_UP;
  htim13.Init.Period = 65535;
  htim13.Init.ClockDivision = TIM_CLOCKDIVISION_DIV1;
  htim13.Init.AutoReloadPreload = TIM_AUTORELOAD_PRELOAD_DISABLE;
  if (HAL_TIM_Base_Init(&htim13) != HAL_OK)
  {
    Error_Handler();
  }

}

static void MX_TIM14_Init(void)
{

  LL_TIM_InitTypeDef TIM_InitStruct = {0};

  /* Peripheral clock enable */
  LL_APB1_GRP1_EnableClock(LL_APB1_GRP1_PERIPH_TIM14);

  /* TIM14 interrupt Init */
  NVIC_SetPriority(TIM8_TRG_COM_TIM14_IRQn, NVIC_EncodePriority(NVIC_GetPriorityGrouping(),0, 0));
  NVIC_EnableIRQ(TIM8_TRG_COM_TIM14_IRQn);

  TIM_InitStruct.Prescaler = 29;
  TIM_InitStruct.CounterMode = LL_TIM_COUNTERMODE_UP;
  TIM_InitStruct.Autoreload = 49999;
  TIM_InitStruct.ClockDivision = LL_TIM_CLOCKDIVISION_DIV1;
  LL_TIM_Init(TIM14, &TIM_InitStruct);
  LL_TIM_DisableARRPreload(TIM14);
  /* USER CODE BEGIN TIM14_Init 2 */
    LL_TIM_ClearFlag_UPDATE(TIM14);
    LL_TIM_EnableIT_UPDATE(TIM14);
  /* USER CODE END TIM14_Init 2 */

}

static void MX_USART2_UART_Init(void)
{

  huart2.Instance = USART2;
  huart2.Init.BaudRate = 115200;
  huart2.Init.WordLength = UART_WORDLENGTH_8B;
  huart2.Init.StopBits = UART_STOPBITS_1;
  huart2.Init.Parity = UART_PARITY_NONE;
  huart2.Init.Mode = UART_MODE_TX_RX;
  huart2.Init.HwFlowCtl = UART_HWCONTROL_NONE;
  huart2.Init.OverSampling = UART_OVERSAMPLING_16;
  if (HAL_UART_Init(&huart2) != HAL_OK)
  {
    Error_Handler();
  }

}

static void MX_DMA_Init(void)
{

  /* DMA controller clock enable */
  __HAL_RCC_DMA1_CLK_ENABLE();
  __HAL_RCC_DMA2_CLK_ENABLE();

  /* DMA interrupt init */
  /* DMA1_Stream1_IRQn interrupt configuration */
  NVIC_SetPriority(DMA1_Stream1_IRQn, NVIC_EncodePriority(NVIC_GetPriorityGrouping(),0, 0));
  NVIC_EnableIRQ(DMA1_Stream1_IRQn);
  /* DMA1_Stream3_IRQn interrupt configuration */
  NVIC_SetPriority(DMA1_Stream3_IRQn, NVIC_EncodePriority(NVIC_GetPriorityGrouping(),0, 0));
  NVIC_EnableIRQ(DMA1_Stream3_IRQn);
  /* DMA1_Stream5_IRQn interrupt configuration */
  NVIC_SetPriority(DMA1_Stream5_IRQn, NVIC_EncodePriority(NVIC_GetPriorityGrouping(),0, 0));
  NVIC_EnableIRQ(DMA1_Stream5_IRQn);
  /* DMA1_Stream6_IRQn interrupt configuration */
  NVIC_SetPriority(DMA1_Stream6_IRQn, NVIC_EncodePriority(NVIC_GetPriorityGrouping(),0, 0));
  NVIC_EnableIRQ(DMA1_Stream6_IRQn);
  /* DMA2_Stream1_IRQn interrupt configuration */
  NVIC_SetPriority(DMA2_Stream1_IRQn, NVIC_EncodePriority(NVIC_GetPriorityGrouping(),0, 0));
  NVIC_EnableIRQ(DMA2_Stream1_IRQn);
  /* DMA2_Stream2_IRQn interrupt configuration */
  NVIC_SetPriority(DMA2_Stream2_IRQn, NVIC_EncodePriority(NVIC_GetPriorityGrouping(),0, 0));
  NVIC_EnableIRQ(DMA2_Stream2_IRQn);
  /* DMA2_Stream4_IRQn interrupt configuration */
  NVIC_SetPriority(DMA2_Stream4_IRQn, NVIC_EncodePriority(NVIC_GetPriorityGrouping(),0, 0));
  NVIC_EnableIRQ(DMA2_Stream4_IRQn);
  /* DMA2_Stream6_IRQn interrupt configuration */
  NVIC_SetPriority(DMA2_Stream6_IRQn, NVIC_EncodePriority(NVIC_GetPriorityGrouping(),0, 0));
  NVIC_EnableIRQ(DMA2_Stream6_IRQn);

}

static void MX_GPIO_Init(void)
{
  GPIO_InitTypeDef GPIO_InitStruct = {0};

  /* GPIO Ports Clock Enable */
  __HAL_RCC_GPIOC_CLK_ENABLE();
  __HAL_RCC_GPIOH_CLK_ENABLE();
  __HAL_RCC_GPIOA_CLK_ENABLE();
  __HAL_RCC_GPIOB_CLK_ENABLE();

  /*Configure GPIO pin Output Level */
  HAL_GPIO_WritePin(DEBUG_GPIO_Port, DEBUG_Pin, GPIO_PIN_RESET);

  /*Configure GPIO pin Output Level */
  HAL_GPIO_WritePin(LD2_GPIO_Port, LD2_Pin, GPIO_PIN_RESET);

  /*Configure GPIO pin : B1_Pin */
  GPIO_InitStruct.Pin = B1_Pin;
  GPIO_InitStruct.Mode = GPIO_MODE_IT_FALLING;
  GPIO_InitStruct.Pull = GPIO_NOPULL;
  HAL_GPIO_Init(B1_GPIO_Port, &GPIO_InitStruct);

  /*Configure GPIO pin : DEBUG_Pin */
  GPIO_InitStruct.Pin = DEBUG_Pin;
  GPIO_InitStruct.Mode = GPIO_MODE_OUTPUT_PP;
  GPIO_InitStruct.Pull = GPIO_NOPULL;
  GPIO_InitStruct.Speed = GPIO_SPEED_FREQ_LOW;
  HAL_GPIO_Init(DEBUG_GPIO_Port, &GPIO_InitStruct);

  /*Configure GPIO pin : LD2_Pin */
  GPIO_InitStruct.Pin = LD2_Pin;
  GPIO_InitStruct.Mode = GPIO_MODE_OUTPUT_PP;
  GPIO_InitStruct.Pull = GPIO_NOPULL;
  GPIO_InitStruct.Speed = GPIO_SPEED_FREQ_LOW;
  HAL_GPIO_Init(LD2_GPIO_Port, &GPIO_InitStruct);

}

void Error_Handler(void)
{
}
